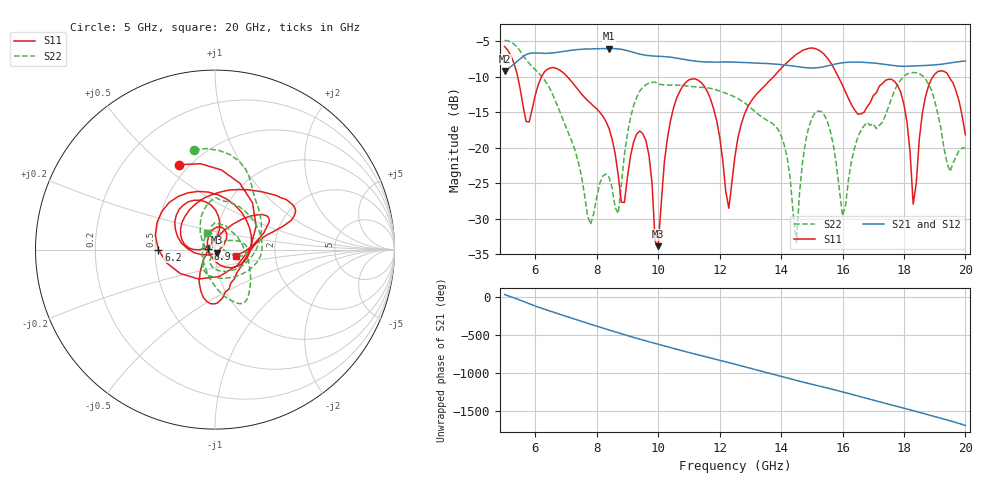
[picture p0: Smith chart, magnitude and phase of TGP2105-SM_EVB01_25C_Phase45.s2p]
! Date: Wednesday, June 05, 2013  1:52 PM
! Filename: C:\Data\Mike_Arnold\TGP2105-SM\Over_Temp\TGP2105-SM_EVB01_25C_Phase45.s2p
! Comments:
!^VDC(V):5.000
!^VDC(mA):0.118
!%Freq(GHz),S11(dB),S11(ang),S21(dB),S21(ang),S12(dB),S12(ang),S22(dB),S22(ang)
# GHz  S  DB  R  50
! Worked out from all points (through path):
!   151 points, 5 GHz to 20 GHz, reference 50 ohm
!   highest |S21| = -6.05 dB at 8.4 GHz (marker M1); lowest = -9.2 dB at 5 GHz (marker M2)
!   lowest |S11| = -33.9 dB at 10 GHz (marker M3), VSWR 1.04, Z = 50.9 - j1.83 ohm
!   |S11| at or under -10 dB: 5.423 GHz to 6.202 GHz (778.2 MHz wide, 13.4 % of centre); 7.036 GHz to 13.76 GHz (6.722 GHz wide, 64.6 % of centre); 15.86 GHz to 18.95 GHz (3.089 GHz wide, 17.7 % of centre)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
!   |S22| runs from -33.3 to -4.9 dB; largest |S21 - S12| = 0.0022
!   S11 on the Smith chart (normalised r, x): 5 GHz: 0.44, +0.57; 6.2 GHz: 0.52, +0.00; 8.9 GHz: 0.92, +0.01; 20 GHz: 1.27, -0.09
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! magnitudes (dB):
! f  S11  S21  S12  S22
! 5 GHz  -5.8  -9.2  -9.2  -4.9
! 5.7 GHz  -16.3  -6.9  -6.9  -7.6
! 6.2 GHz  -10.0  -6.7  -6.7  -9.9
! 7.5 GHz  -12.4  -6.2  -6.2  -24.0
! 8.4 GHz  -17.3  -6.1  -6.1  -24.2
! 8.7 GHz  -24.0  -6.1  -6.1  -29.2
! 8.9 GHz  -27.7  -6.2  -6.3  -21.0
! 9.5 GHz  -18.0  -6.9  -7.0  -11.5
! 10 GHz  -33.9  -7.1  -7.2  -11.0
! 10.8 GHz  -11.3  -7.6  -7.6  -11.2
! 11.7 GHz  -13.1  -8.0  -8.0  -11.7
! 12.3 GHz  -28.5  -8.0  -8.0  -12.5
! 12.5 GHz  -21.2  -8.0  -8.0  -12.9
! 14 GHz  -8.9  -8.3  -8.3  -18.3
! 14.5 GHz  -6.9  -8.6  -8.6  -33.3
! 15 GHz  -6.0  -8.8  -8.8  -15.9
! 16 GHz  -11.2  -8.1  -8.1  -29.6
! 17.5 GHz  -10.4  -8.4  -8.4  -14.2
! 18 GHz  -13.9  -8.5  -8.6  -10.0
! 18.3 GHz  -27.9  -8.5  -8.5  -9.4
! 19 GHz  -9.7  -8.4  -8.4  -13.4
! 20 GHz  -18.2  -7.8  -7.9  -20.0
